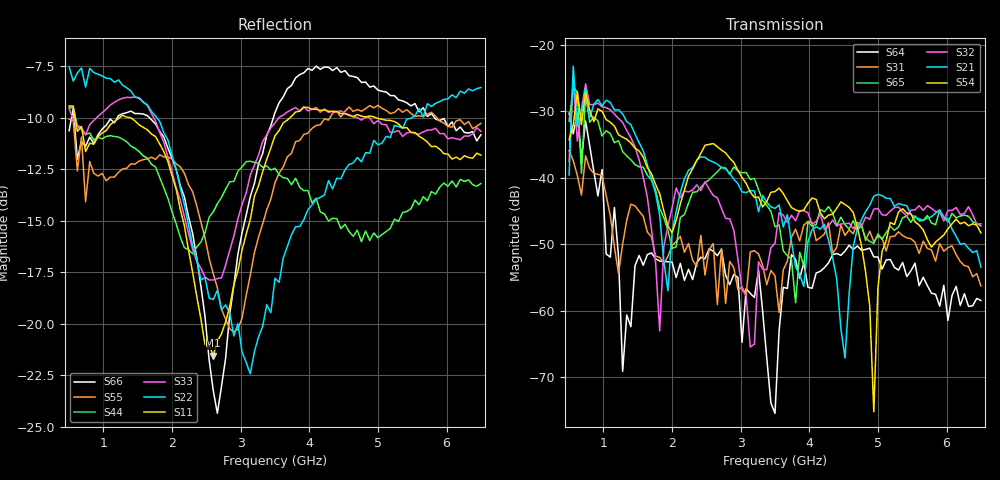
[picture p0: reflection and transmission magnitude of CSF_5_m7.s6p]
!Keysight Technologies,M9804A,MY58100912,A.14.10.03
!Date: Thursday, April 27, 2023 10:28:33
!Correction: S11(C  6-Port  )
!S12(C  6-Port  )
!S13(C  6-Port  )
!S14(C  6-Port  )
!S15(C  6-Port  )
!S16(C  6-Port  )
!S21(C  6-Port  )
!S22(C  6-Port  )
!S23(C  6-Port  )
!S24(C  6-Port  )
!S25(C  6-Port  )
!S26(C  6-Port  )
!S31(C  6-Port  )
!S32(C  6-Port  )
!S33(C  6-Port  )
!S34(C  6-Port  )
!S35(C  6-Port  )
!S36(C  6-Port  )
!S41(C  6-Port  )
!S42(C  6-Port  )
!S43(C  6-Port  )
!S44(C  6-Port  )
!S45(C  6-Port  )
!S46(C  6-Port  )
!S51(C  6-Port  )
!S52(C  6-Port  )
!S53(C  6-Port  )
!S54(C  6-Port  )
!S55(C  6-Port  )
!S56(C  6-Port  )
!S61(C  6-Port  )
!S62(C  6-Port  )
!S63(C  6-Port  )
!S64(C  6-Port  )
!S65(C  6-Port  )
!S66(C  6-Port  )
!S6P File: Measurement: :
# Hz S  RI  R 50
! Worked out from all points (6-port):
!   101 points, 500 MHz to 6.5 GHz, reference 50 ohm
!   strongest paths, dB at 500 MHz, 2 GHz, 3.5 GHz, 5 GHz, 6.5 GHz:
!     S54: -34.3, -48.3, -42.1, -56.5, -48.3
!     S21: -39.6, -48.3, -44.6, -42.5, -53.4
!     S32: -37.6, -44.5, -49.9, -44.6, -46.9
!     S65: -31.5, -50.6, -47.4, -48.4, -47.3
!     S31: -36.0, -50.2, -54.8, -48.8, -56.3
!     S64: -30.3, -52.7, -75.4, -51.9, -58.5
!   lowest |S11| = -21.6 dB at 2.6 GHz (marker M1), VSWR 1.18, Z = 42.5 + j2.11 ohm
!   |S11| at or under -10 dB: 588 MHz to 1.232 GHz (644.2 MHz wide, 70.8 % of centre); 1.4 GHz to 3.717 GHz (2.317 GHz wide, 90.5 % of centre); 4.976 GHz to end of sweep
